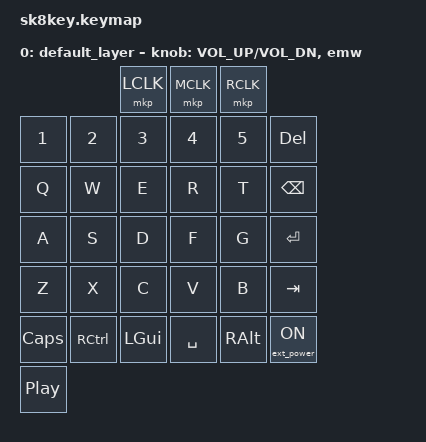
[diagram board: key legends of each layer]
#include <behaviors.dtsi>
#include <dt-bindings/zmk/keys.h>
#include <dt-bindings/zmk/bt.h>
#include <dt-bindings/zmk/rgb.h>
#include <dt-bindings/zmk/pointing.h>
#include <dt-bindings/zmk/mouse.h>
#define ZMK_POINTING_DEFAULT_SCRL_VAL 100
#include <dt-bindings/zmk/ext_power.h>
#define MOUSE 6

/ {

    behaviors {
        emw: encoder_mousewheel {
            compatible = "zmk,behavior-sensor-rotate";
            #sensor-binding-cells = <0>;
            tap-ms = <20>;
            bindings = <&msc SCRL_DOWN>, <&msc SCRL_UP>;
        };
    };

    keymap {
        compatible = "zmk,keymap";

        default_layer {
            bindings = <
                                                &mkp LCLK   &mkp MCLK   &mkp RCLK
                &kp N1              &kp N2      &kp N3      &kp N4      &kp N5       &kp DEL
                &kp Q               &kp W       &kp E       &kp R       &kp T       &kp BACKSPACE
                &kp A               &kp S       &kp D       &kp F       &kp G       &kp ENTER
                &kp Z               &kp X       &kp C       &kp V       &kp B       &kp TAB
                &kp CLCK            &kp RCTRL   &kp LGUI    &kp SPACE   &kp RALT    &ext_power EP_ON
                &kp C_PLAY_PAUSE
            >;
            sensor-bindings = <&inc_dec_kp C_VOL_UP C_VOL_DN &emw>;
        };
    };
};

&led_strip {
    chain-length = <32>;
};
